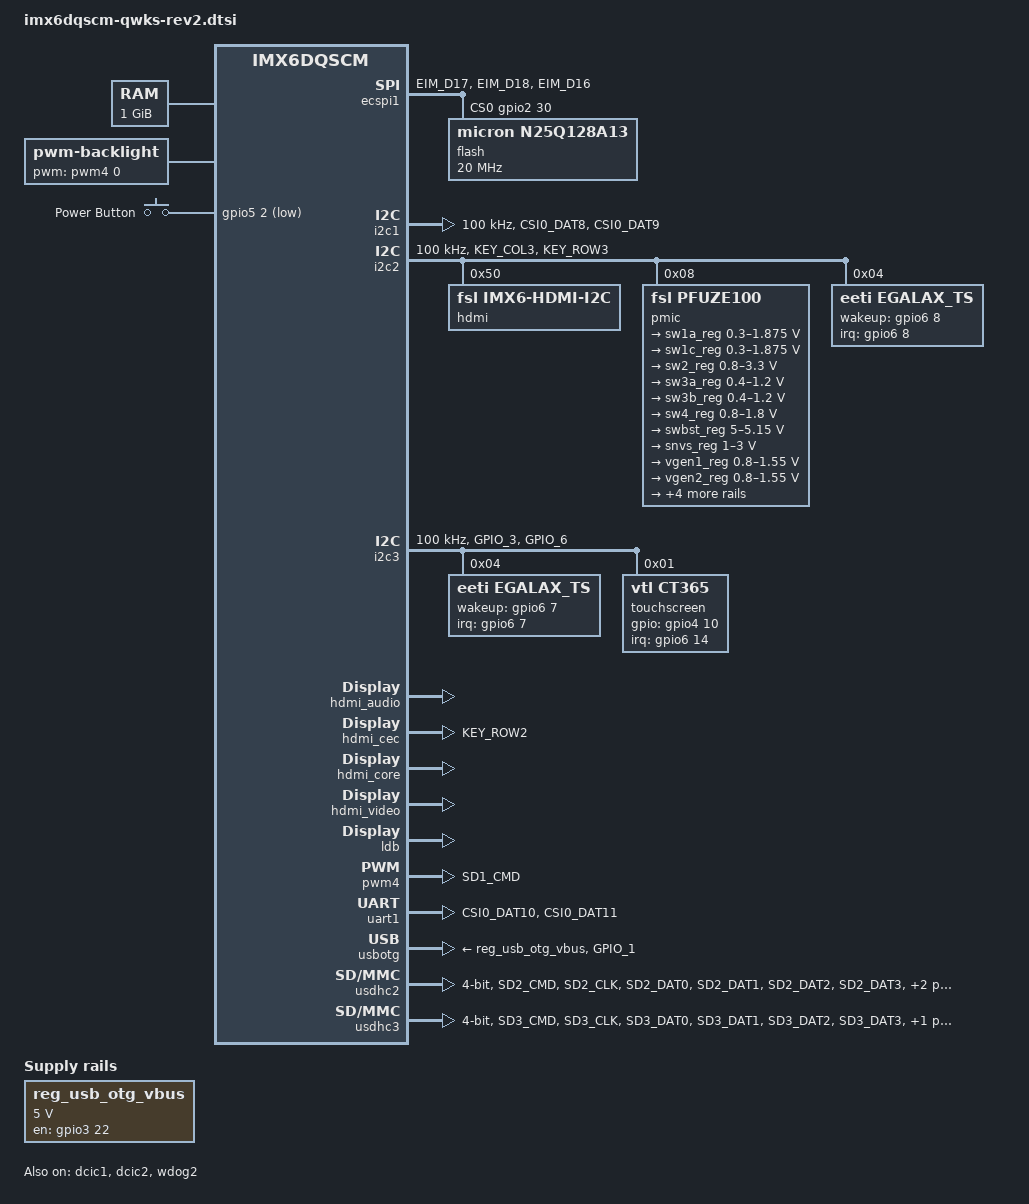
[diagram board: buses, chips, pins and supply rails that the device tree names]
/*
 * Copyright (C) 2016 Freescale Semiconductor, Inc.
 *
 * This program is free software; you can redistribute it and/or modify
 * it under the terms of the GNU General Public License version 2 as
 * published by the Free Software Foundation.
 */

#include <dt-bindings/gpio/gpio.h>
#include <dt-bindings/input/input.h>

/ {
	aliases {
		mxcfb0 = &mxcfb1;
		mxcfb1 = &mxcfb2;
		mxcfb2 = &mxcfb3;
		mxcfb3 = &mxcfb4;
	};

		soc {
			busfreq {
				fsl,max_ddr_freq = <400000000>;
				status = "okay";
			};
		};

	hannstar_cabc {
		compatible = "hannstar,cabc";

		lvds0 {
			gpios = <&gpio6 15 GPIO_ACTIVE_LOW>;

		};
	};

	chosen {
		stdout-path = &uart1;
	};

		memory: memory {
			reg = <0x10000000 0x40000000>;
		};

	regulators {
		compatible = "simple-bus";
		#address-cells = <1>;
		#size-cells = <0>;

		reg_usb_otg_vbus: regulator@0 {
			compatible = "regulator-fixed";
			reg = <0>;
			regulator-name = "usb_otg_vbus";
			regulator-min-microvolt = <5000000>;
			regulator-max-microvolt = <5000000>;
			gpio = <&gpio3 22 0>;
			enable-active-high;
		};
	};

	sound-hdmi {
		compatible = "fsl,imx6q-audio-hdmi",
				 "fsl,imx-audio-hdmi";
		model = "imx-audio-hdmi";
		hdmi-controller = <&hdmi_audio>;
	};

	mxcfb1: fb@0 {
		compatible = "fsl,mxc_sdc_fb";
		disp_dev = "ldb";
		interface_pix_fmt = "RGB666";
		default_bpp = <16>;
		int_clk = <0>;
		late_init = <0>;
		status = "disabled";
	};

	mxcfb2: fb@1 {
		compatible = "fsl,mxc_sdc_fb";
		disp_dev = "hdmi";
		interface_pix_fmt = "RGB24";
		mode_str ="1920x1080M@60";
		default_bpp = <24>;
		int_clk = <0>;
		late_init = <0>;
		status = "disabled";
	};

	mxcfb3: fb@2 {
		compatible = "fsl,mxc_sdc_fb";
		disp_dev = "lcd";
		interface_pix_fmt = "RGB565";
		mode_str ="CLAA-WVGA";
		default_bpp = <16>;
		int_clk = <0>;
		late_init = <0>;
		status = "disabled";
	};

	mxcfb4: fb@3 {
		compatible = "fsl,mxc_sdc_fb";
		disp_dev = "ldb";
		interface_pix_fmt = "RGB666";
		default_bpp = <16>;
		int_clk = <0>;
		late_init = <0>;
		status = "disabled";
	};
	backlight {
		compatible = "pwm-backlight";
		pwms = <&pwm4 0 5000000>;
		brightness-levels = <0 4 8 16 32 64 128 255>;
		default-brightness-level = <7>;
		status = "okay";
	};

	v4l2_out {
		compatible = "fsl,mxc_v4l2_output";
		status = "okay";
	};
	gpio-keys {
		compatible = "gpio-keys";
		pinctrl-names = "default";
		pinctrl-0 = <&pinctrl_gpio_keys>;

		power {
			label = "Power Button";
			gpios = <&gpio5 2 GPIO_ACTIVE_LOW>;
			gpio-key,wakeup;
			linux,code = <KEY_POWER>;
		};
	};

};

&cpu0 {
	arm-supply = <&sw1a_reg>;
	soc-supply = <&sw1c_reg>;
};

&clks {
	fsl,ldb-di0-parent = <&clks IMX6QDL_CLK_PLL2_PFD0_352M>;
	fsl,ldb-di1-parent = <&clks IMX6QDL_CLK_PLL2_PFD0_352M>;
};

&ecspi1 {
	fsl,spi-num-chipselects = <1>;
	cs-gpios = <&gpio2 30 0>;
	pinctrl-names = "default";
	pinctrl-0 = <&pinctrl_ecspi1>;
	status = "okay";
	flash: m25p80@0 {
		#address-cells = <1>;
		#size-cells = <1>;
		compatible = "micron,n25q128a13";
		spi-max-frequency = <20000000>;
		reg = <0>;
	};
};

&i2c1 {
	clock-frequency = <100000>;
	pinctrl-names = "default";
	pinctrl-0 = <&pinctrl_i2c1>;
	status = "okay";
};

&i2c2 {
	clock-frequency = <100000>;
	pinctrl-names = "default";
	pinctrl-0 = <&pinctrl_i2c2>;
	status = "okay";

	hdmi: edid@50 {
		compatible = "fsl,imx6-hdmi-i2c";
		reg = <0x50>;
	};

	pmic: pfuze100@08 {
		compatible = "fsl,pfuze100";
		reg = <0x08>;
		regulators {
			sw1a_reg: sw1ab {
				regulator-min-microvolt = <300000>;
				regulator-max-microvolt = <1875000>;
				regulator-boot-on;
				regulator-always-on;
				regulator-ramp-delay = <6250>;
			};

			sw1c_reg: sw1c {
				regulator-min-microvolt = <300000>;
				regulator-max-microvolt = <1875000>;
				regulator-boot-on;
				regulator-always-on;
				regulator-ramp-delay = <6250>;
			};

			sw2_reg: sw2 {
				regulator-min-microvolt = <800000>;
				regulator-max-microvolt = <3300000>;
				regulator-boot-on;
				regulator-always-on;
			};

			sw3a_reg: sw3a {
				regulator-min-microvolt = <400000>;
				regulator-max-microvolt = <1200000>;
				regulator-boot-on;
				regulator-always-on;
			};

			sw3b_reg: sw3b {
				regulator-min-microvolt = <400000>;
				regulator-max-microvolt = <1200000>;
				regulator-boot-on;
				regulator-always-on;
			};

			sw4_reg: sw4 {
				regulator-min-microvolt = <800000>;
				regulator-max-microvolt = <1800000>;
				regulator-boot-on;
				regulator-always-on;
			};

			swbst_reg: swbst {
				regulator-min-microvolt = <5000000>;
				regulator-max-microvolt = <5150000>;
				regulator-boot-on;
				regulator-always-on;
			};

			snvs_reg: vsnvs {
				regulator-min-microvolt = <1000000>;
				regulator-max-microvolt = <3000000>;
				regulator-boot-on;
				regulator-always-on;
			};

			vref_reg: vrefddr {
				regulator-boot-on;
				regulator-always-on;
			};

			vgen1_reg: vgen1 {
				regulator-min-microvolt = <800000>;
				regulator-max-microvolt = <1550000>;
				regulator-always-on;
			};

			vgen2_reg: vgen2 {
				regulator-min-microvolt = <800000>;
				regulator-max-microvolt = <1550000>;
				regulator-always-on;
			};

			vgen3_reg: vgen3 {
				regulator-min-microvolt = <1800000>;
				regulator-max-microvolt = <2800000>;
				regulator-always-on;
			};

			vgen4_reg: vgen4 {
				regulator-min-microvolt = <1800000>;
				regulator-max-microvolt = <2500000>;
				regulator-always-on;
			};

			vgen5_reg: vgen5 {
				regulator-min-microvolt = <1800000>;
				regulator-max-microvolt = <3300000>;
				regulator-always-on;
			};

			vgen6_reg: vgen6 {
				regulator-min-microvolt = <1800000>;
				regulator-max-microvolt = <3150000>;
				regulator-always-on;
			};
		};
	};

	egalax_ts@04 {
		compatible = "eeti,egalax_ts";
		reg = <0x04>;
		pinctrl-names = "default";
		pinctrl-0 = <&pinctrl_i2c2_egalax_int>;
		interrupt-parent = <&gpio6>;
		interrupts = <8 2>;
		wakeup-gpios = <&gpio6 8 GPIO_ACTIVE_HIGH>;
	};

};

&i2c3 {
	clock-frequency = <100000>;
	pinctrl-names = "default";
	pinctrl-0 = <&pinctrl_i2c3>;
	status = "okay";
	egalax_ts@04 {
		compatible = "eeti,egalax_ts";
		reg = <0x04>;
		pinctrl-names = "default";
		pinctrl-0 = <&pinctrl_i2c3_egalax_int>;
		interrupt-parent = <&gpio6>;
		interrupts = <7 2>;
		wakeup-gpios = <&gpio6 7 GPIO_ACTIVE_HIGH>;
	};

	touchscreen@01 {
		compatible = "vtl,ct365";
		reg = <0x01>;
		interrupt-parent = <&gpio6>;
		interrupts = <14 0>;
		gpios = <&gpio4 10 0>;
	};

};

&iomuxc {
	pinctrl-names = "default";
	pinctrl-0 = <&pinctrl_hog>;

	imx6qdl-sabresd {
		pinctrl_hog: hoggrp {
			fsl,pins = <
				MX6QDL_PAD_NANDF_D0__GPIO2_IO00 0x80000000
				MX6QDL_PAD_NANDF_CS1__GPIO6_IO14 0x80000000
				MX6QDL_PAD_NANDF_CS2__GPIO6_IO15 0x80000000
				MX6QDL_PAD_KEY_COL2__GPIO4_IO10 0x80000000
				MX6QDL_PAD_EIM_EB2__GPIO2_IO30 0x80000000
				MX6QDL_PAD_EIM_D22__GPIO3_IO22  0x80000000
			>;
		};

		pinctrl_gpio_keys: gpio_keysgrp {
			fsl,pins = <
				MX6QDL_PAD_EIM_A25__GPIO5_IO02 0x1b0b0
			>;
		};

		pinctrl_ecspi1: ecspi1grp {
			fsl,pins = <
				MX6QDL_PAD_EIM_D17__ECSPI1_MISO 0x100b1
				MX6QDL_PAD_EIM_D18__ECSPI1_MOSI 0x100b1
				MX6QDL_PAD_EIM_D16__ECSPI1_SCLK 0x100b1
			>;
		};

		pinctrl_i2c2_egalax_int: egalax_i2c2_intgrp {
			fsl,pins = <
				MX6QDL_PAD_NANDF_ALE__GPIO6_IO08 0x80000000
			>;
		};

		pinctrl_i2c3_egalax_int: egalax_i2c3_intgrp {
			fsl,pins = <
				MX6QDL_PAD_NANDF_CLE__GPIO6_IO07 0x80000000
			>;
		};

		pinctrl_hdmi_cec: hdmicecgrp {
			fsl,pins = <
				MX6QDL_PAD_KEY_ROW2__HDMI_TX_CEC_LINE 0x108b0
			>;
		};

		pinctrl_hdmi_hdcp: hdmihdcpgrp {
			fsl,pins = <
				MX6QDL_PAD_KEY_COL3__HDMI_TX_DDC_SCL 0x4001b8b1
				MX6QDL_PAD_KEY_ROW3__HDMI_TX_DDC_SDA 0x4001b8b1
			>;
		};

		pinctrl_i2c1: i2c1grp {
			fsl,pins = <
				MX6QDL_PAD_CSI0_DAT8__I2C1_SDA	0x4001b8b1
				MX6QDL_PAD_CSI0_DAT9__I2C1_SCL	0x4001b8b1
			>;
		};

		pinctrl_i2c2: i2c2grp {
			fsl,pins = <
				MX6QDL_PAD_KEY_COL3__I2C2_SCL	0x4001b8b1
				MX6QDL_PAD_KEY_ROW3__I2C2_SDA	0x4001b8b1
			 >;
		};

		pinctrl_i2c3: i2c3grp {
			fsl,pins = <
				MX6QDL_PAD_GPIO_3__I2C3_SCL	0x4001b8b1
				MX6QDL_PAD_GPIO_6__I2C3_SDA	0x4001b8b1
			>;
		};

		pinctrl_pwm4: pwm4grp {
			fsl,pins = <
				MX6QDL_PAD_SD1_CMD__PWM4_OUT	0x1b0b1
			 >;
		};

		pinctrl_uart1: uart1grp {
			fsl,pins = <
				MX6QDL_PAD_CSI0_DAT10__UART1_TX_DATA	0x1b0b1
				MX6QDL_PAD_CSI0_DAT11__UART1_RX_DATA	0x1b0b1
			>;
		};

		pinctrl_usbotg: usbotggrp {
			fsl,pins = <
				MX6QDL_PAD_GPIO_1__USB_OTG_ID		0x17059
			>;
		};

		pinctrl_usdhc2: usdhc2grp {
			fsl,pins = <
				MX6QDL_PAD_SD2_CMD__SD2_CMD		0x17059
				MX6QDL_PAD_SD2_CLK__SD2_CLK		0x10059
				MX6QDL_PAD_SD2_DAT0__SD2_DATA0		0x17059
				MX6QDL_PAD_SD2_DAT1__SD2_DATA1		0x17059
				MX6QDL_PAD_SD2_DAT2__SD2_DATA2		0x17059
				MX6QDL_PAD_SD2_DAT3__SD2_DATA3		0x17059
			>;
		};

		pinctrl_usdhc3: usdhc3grp {
			fsl,pins = <
				MX6QDL_PAD_SD3_CMD__SD3_CMD		0x17059
				MX6QDL_PAD_SD3_CLK__SD3_CLK		0x10059
				MX6QDL_PAD_SD3_DAT0__SD3_DATA0		0x17059
				MX6QDL_PAD_SD3_DAT1__SD3_DATA1		0x17059
				MX6QDL_PAD_SD3_DAT2__SD3_DATA2		0x17059
				MX6QDL_PAD_SD3_DAT3__SD3_DATA3		0x17059
			>;
		};

		pinctrl_wdog: wdoggrp {
			fsl,pins = <
				MX6QDL_PAD_GPIO_1__WDOG2_B 0x80000000
			>;
		};

	};
};

&dcic1 {
	dcic_id = <0>;
	dcic_mux = "dcic-hdmi";
	status = "okay";
};

&dcic2 {
	dcic_id = <1>;
	dcic_mux = "dcic-lvds1";
	status = "okay";
};

&gpc {
	fsl,ldo-bypass = <1>;
};

&hdmi_audio {
	status = "okay";
};

&hdmi_cec {
	pinctrl-names = "default";
	pinctrl-0 = <&pinctrl_hdmi_cec>;
	status = "okay";
};

&hdmi_core {
	ipu_id = <0>;
	disp_id = <0>;
	status = "okay";
};

&hdmi_video {
	fsl,phy_reg_vlev = <0x0294>;
	fsl,phy_reg_cksymtx = <0x800d>;
	status = "okay";
};

&ldb {
	status = "okay";

	lvds-channel@0 {
		fsl,data-mapping = "spwg";
		fsl,data-width = <18>;
		status = "okay";

		display-timings {
			native-mode = <&timing0>;
			timing0: hsd100pxn1 {
				clock-frequency = <65000000>;
				hactive = <1024>;
				vactive = <768>;
				hback-porch = <220>;
				hfront-porch = <40>;
				vback-porch = <21>;
				vfront-porch = <7>;
				hsync-len = <60>;
				vsync-len = <10>;
			};
		};
	};

	lvds-channel@1 {
		fsl,data-mapping = "spwg";
		fsl,data-width = <18>;
		primary;
		status = "okay";

		display-timings {
			native-mode = <&timing1>;
			timing1: hsd100pxn1 {
				clock-frequency = <65000000>;
				hactive = <1024>;
				vactive = <768>;
				hback-porch = <220>;
				hfront-porch = <40>;
				vback-porch = <21>;
				vfront-porch = <7>;
				hsync-len = <60>;
				vsync-len = <10>;
			};
		};
	};
};

&pwm4 {
	pinctrl-names = "default";
	pinctrl-0 = <&pinctrl_pwm4>;
	status = "okay";
};

&snvs_poweroff {
	status = "okay";
};

&uart1 {
	pinctrl-names = "default";
	pinctrl-0 = <&pinctrl_uart1>;
	status = "okay";
};

&usbotg {
	vbus-supply = <&reg_usb_otg_vbus>;
	pinctrl-names = "default";
	pinctrl-0 = <&pinctrl_usbotg>;
	disable-over-current;
	srp-disable;
	hnp-disable;
	adp-disable;
	status = "okay";
};

&usbphy1 {
	tx-d-cal = <0x5>;
};

&usbphy2 {
	tx-d-cal = <0x5>;
};

&usdhc2 {
	pinctrl-names = "default";
	pinctrl-0 = <&pinctrl_usdhc2>;
	bus-width = <4>;
	cd-gpios = <&gpio1 4 GPIO_ACTIVE_LOW>;
	wp-gpios = <&gpio1 2 GPIO_ACTIVE_HIGH>;
	no-1-8-v;
	keep-power-in-suspend;
	enable-sdio-wakeup;
	status = "okay";
};

&usdhc3 {
	pinctrl-names = "default";
	pinctrl-0 = <&pinctrl_usdhc3>;
	bus-width = <4>;
	cd-gpios = <&gpio2 0 GPIO_ACTIVE_LOW>;
	no-1-8-v;
	keep-power-in-suspend;
	enable-sdio-wakeup;
	status = "okay";
};

&wdog1 {
	status = "disabled";
};

&wdog2 {
	pinctrl-names = "default";
	pinctrl-0 = <&pinctrl_wdog>;
	fsl,wdog_b;
	status = "okay";
};
